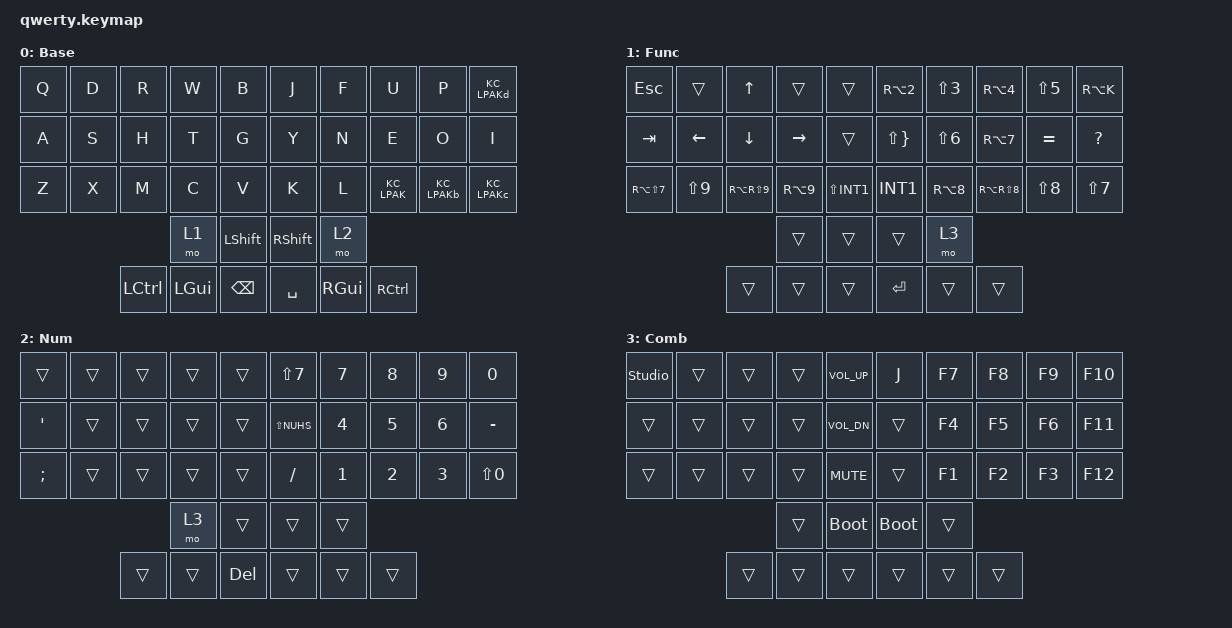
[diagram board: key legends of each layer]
/* upstream bindings and behaviors */
#include <behaviors.dtsi>
#include <dt-bindings/zmk/bt.h>
#include <dt-bindings/zmk/keys.h>
#include <dt-bindings/zmk/mouse.h>
#include <dt-bindings/zmk/outputs.h>
#include <behaviors/mouse_keys.dtsi>
#include <dt-bindings/zmk/ext_power.h>

/* local overlays */
#include "macros.dtsi"
#include "behaviors.dtsi"
#include "combos.dtsi"

/ {
/* --- KEYMAP CONFIG --- */
// ╭──────┬──────┬──────┬──────┬──────┬──────╮  ╭──────┬──────┬──────┬──────┬──────┬──────╮
//    00     01     02     03    04      05        06     07     08     09     10     11
// ├──────┼──────┼──────┼──────┼──────┼──────┤  ├──────┼──────┼──────┼──────┼──────┼──────┤
//    12     13     14     15    16      17        18     19     20     21     22     23
// ├──────┼──────┼──────┼──────┼──────┼──────┤  ├──────┼──────┼──────┼──────┼──────┼──────┤
//    24     25     26     27    28      29        30     31     32     33     34     35
// ╰──────┴──────┴──────┼──────┼──────┼──────┤  ├──────┼──────┼──────┴──────┴──────┴──────╯
//                         36     37     38        39     40
//                      ╰──────┴──────┴──────╯  ╰──────┴──────╯
// #define BASE    0
// #define NUM     1
// #define NAV     2
// #define SYM     3
// #define GAME    4
// #define EXTRAS  5
// #define SLOW    6
// #define SCROLL  7

    	// This is the code I added
	chosen {
		zephyr,console = &cdc_acm_uart;
	};

    keymap {
        compatible = "zmk,keymap";
        BASE {
            display-name = "Base";
            bindings = <
// ╭───────────────┬────────────────┬────────────────┬─────────────────┬───────────╮  ╭─────────┬──────────────────┬──────────────────┬─────────────────┬─────────────────╮
    &kp Q           &kp D            &kp R            &kp W             &kp B          &kp J     &kp F              &kp U              &kp P             &KC_LPAKd                   
// ├───────────────┼────────────────┼────────────────┼─────────────────┼───────────┤  ├─────────┼──────────────────┼──────────────────┼─────────────────┼─────────────────┤
    &kp A           &kp S            &kp H            &kp T             &kp G          &kp Y     &kp N              &kp E              &kp O             &kp I  
// ├───────────────┼────────────────┼────────────────┼─────────────────┼───────────┤  ├─────────┼──────────────────┼──────────────────┼─────────────────┼─────────────────┤
    &kp Z           &kp X            &kp M            &kp C             &kp V          &kp K     &kp L              &KC_LPAK           &KC_LPAKb         &KC_LPAKc          
// ╰───────────────┴────────────────┴────────────────┼─────────────────┼───────────┤  ├─────────┼──────────────────┼──────────────────┴─────────────────┴─────────────────╯
                                                      &mo 1             &kp LSHFT      &kp RSHFT &mo 2
//                                  ├────────────────┼─────────────────┼───────────┤  ├─────────┼──────────────────┼──────────────────┤
                                     &kp LCTRL        &kp LGUI          &kp BSPC         &kp SPACE &kp RGUI          &kp RCTRL
                                 // ╰────────────────┴─────────────────┴───────────╯  ╰─────────┴──────────────────┴──────────────────╯
            >;
        };

        FUNC {
            display-name = "Func";
            bindings = <
            //
// ╭───────────────┬────────────────┬────────────────┬─────────────────┬───────────╮  ╭─────────┬──────────────────┬──────────────────┬─────────────────┬─────────────────╮
    &kp ESC         &trans           &kp UP           &trans            &trans         &kp RA(N2) &kp LS(N3)        &kp RA(N4)         &kp LS(N5)        &kp RA(K)                    
// ├───────────────┼────────────────┼────────────────┼─────────────────┼───────────┤  ├─────────┼──────────────────┼──────────────────┼─────────────────┼─────────────────┤
    &kp TAB         &kp LEFT         &kp DOWN         &kp RIGHT         &trans         &kp LS(RBRC) &kp LS(N6)      &kp RA(N7)         &kp EQUAL         &kp QMARK 
// ├───────────────┼────────────────┼────────────────┼─────────────────┼───────────┤  ├─────────┼──────────────────┼──────────────────┼─────────────────┼─────────────────┤
    &kp RA(LS(N7))  &kp LS(N9)       &kp RA(RS(N9))   &kp RA(N9)        &kp LS(INT1)   &kp INT1  &kp RA(N8)         &kp RA(RS(N8))     &kp LS(N8)        &kp LS(N7)                 
// ╰───────────────┴────────────────┴────────────────┼─────────────────┼───────────┤  ├─────────┼──────────────────┼──────────────────┴─────────────────┴─────────────────╯
                                                      &trans            &trans         &trans    &mo 3
//                                  ├────────────────┼─────────────────┼───────────┤  ├─────────┼──────────────────┼──────────────────┤
                                     &trans           &trans            &trans         &kp ENTER &trans             &trans
                                 // ╰────────────────┴─────────────────┴───────────╯  ╰─────────┴──────────────────┴──────────────────╯
            >;
        };

        NUM {
            display-name = "Num";
            bindings = <
// ╭───────────────┬────────────────┬────────────────┬─────────────────┬───────────╮  ╭─────────┬──────────────────┬──────────────────┬─────────────────┬─────────────────╮
    &trans          &trans           &trans           &trans            &trans         &kp LS(N7)    &kp N7         &kp N8             &kp N9            &kp N0                    
// ├───────────────┼────────────────┼────────────────┼─────────────────┼───────────┤  ├─────────┼──────────────────┼──────────────────┼─────────────────┼─────────────────┤
    &kp SQT         &trans           &trans           &trans            &trans         &kp LS(NUHS)    &kp N4       &kp N5             &kp N6            &kp MINUS  
// ├───────────────┼────────────────┼────────────────┼─────────────────┼───────────┤  ├─────────┼──────────────────┼──────────────────┼─────────────────┼─────────────────┤
    &kp SEMI       &trans           &trans           &trans            &trans         &kp SLASH    &kp N1          &kp N2             &kp N3            &kp LS(N0)                 
// ╰───────────────┴────────────────┴────────────────┼─────────────────┼───────────┤  ├─────────┼──────────────────┼──────────────────┴─────────────────┴─────────────────╯
                                                      &mo 3            &trans         &trans    &trans
//                                  ├────────────────┼─────────────────┼───────────┤  ├─────────┼──────────────────┼──────────────────┤
                                     &trans           &trans            &kp DEL        &trans    &trans             &trans
                                 // ╰────────────────┴─────────────────┴───────────╯  ╰─────────┴──────────────────┴──────────────────╯
            >;
        };

        COMB {
            display-name = "Comb";
            bindings = <
// ╭───────────────┬────────────────┬────────────────┬─────────────────┬───────────╮  ╭─────────┬──────────────────┬──────────────────┬─────────────────┬─────────────────╮
    &studio_unlock  &trans           &trans           &trans            &kp C_VOL_UP   &kp J    &kp F7             &kp F8             &kp F9            &kp F10                    
// ├───────────────┼────────────────┼────────────────┼─────────────────┼───────────┤  ├─────────┼──────────────────┼──────────────────┼─────────────────┼─────────────────┤
    &trans          &trans           &trans           &trans            &kp C_VOL_DN   &trans    &kp F4             &kp F5             &kp F6            &kp F11  
// ├───────────────┼────────────────┼────────────────┼─────────────────┼───────────┤  ├─────────┼──────────────────┼──────────────────┼─────────────────┼─────────────────┤
    &trans          &trans           &trans           &trans            &kp C_MUTE     &trans    &kp F1             &kp F2             &kp F3            &kp F12                
// ╰───────────────┴────────────────┴────────────────┼─────────────────┼───────────┤  ├─────────┼──────────────────┼──────────────────┴─────────────────┴─────────────────╯
                                                      &trans            &bootloader    &bootloader    &trans
//                                  ├────────────────┼─────────────────┼───────────┤  ├─────────┼──────────────────┼──────────────────┤
                                     &trans           &trans            &trans         &trans    &trans             &trans
                                 // ╰────────────────┴─────────────────┴───────────╯  ╰─────────┴──────────────────┴──────────────────╯
            >;
        };
    };
};

// Allow USB logging
&usbd {
	status = "okay";
	cdc_acm_uart: cdc_acm_uart {
		compatible = "zephyr,cdc-acm-uart";
		label = "CDC_ACM_0";
	};
};

